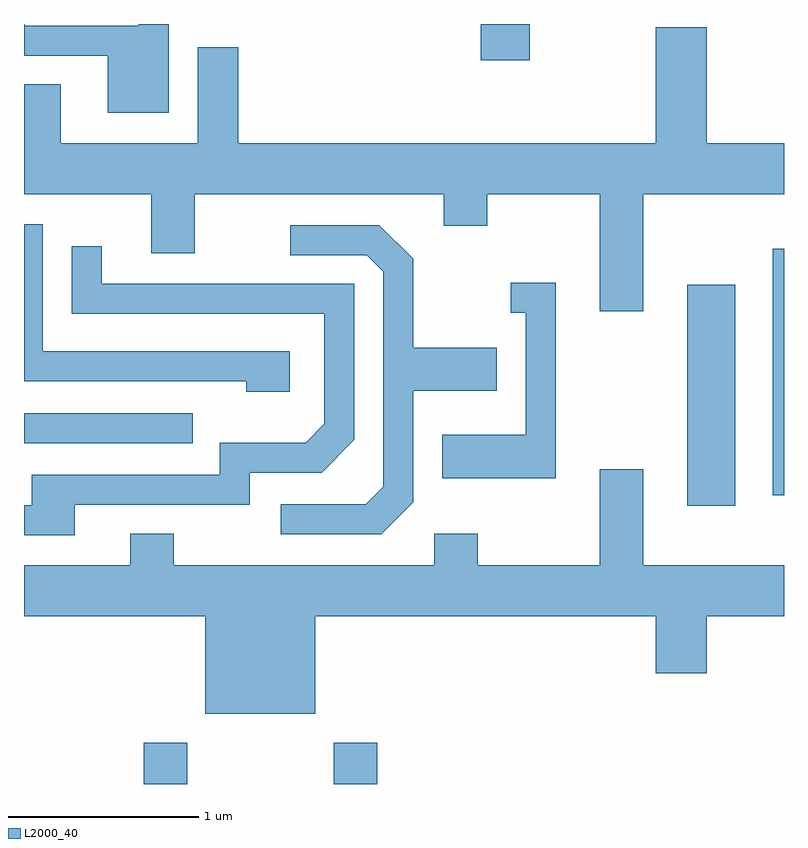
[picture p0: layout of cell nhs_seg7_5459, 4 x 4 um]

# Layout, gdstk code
import gdstk
lib = gdstk.Library(unit=1e-6, precision=1e-09)
def R(c, l, rs):  # rectangles x0, y0, x1, y1
    for r in rs: c.add(gdstk.rectangle(r[:2], r[2:], *l))
def P(c, l, *ps):  # polygons
    for p in ps: c.add(gdstk.Polygon(p, *l))
L2000_40 = (2000, 40)

nhs_seg7_5459 = lib.new_cell('nhs_seg7_5459')
R(nhs_seg7_5459, L2000_40, [(352.241,1782.252,352.469,1782.469), (353.241,1782.252,353.469,1782.469), (355.101,1783.716,355.354,1784.879), (355.551,1783.771,355.611,1785.069), (351.611,1784.046,352.498,1784.204), (354.016,1786.061,354.274,1786.252)])
P(nhs_seg7_5459, L2000_40, [(352.374,1786.252),(352.216,1786.252),(352.216,1786.244),(351.614,1786.244),(351.614,1786.252),(351.611,1786.252),(351.611,1786.086),(352.051,1786.086),(352.051,1785.786),(352.374,1785.786)],
  [(354.869,1785.356),(355.611,1785.356),(355.611,1785.624),(355.204,1785.624),(355.204,1786.234),(354.936,1786.234),(354.936,1785.624),(352.739,1785.624),(352.739,1786.129),(352.526,1786.129),(352.526,1785.624),(351.804,1785.624),(351.804,1785.934),(351.611,1785.934),(351.611,1785.356),(352.281,1785.356),(352.281,1785.046),(352.509,1785.046),(352.509,1785.356),(353.821,1785.356),(353.821,1785.191),(354.049,1785.191),(354.049,1785.356),(354.641,1785.356),(354.641,1784.741),(354.869,1784.741)],
  [(353.009,1784.529),(351.709,1784.529),(351.709,1785.199),(351.611,1785.199),(351.611,1784.371),(352.781,1784.371),(352.781,1784.316),(353.009,1784.316)],
  [(353.659,1783.734),(353.659,1784.321),(354.099,1784.321),(354.099,1784.549),(353.659,1784.549),(353.659,1785.017),(353.482,1785.194),(353.013,1785.194),(353.013,1785.036),(353.414,1785.036),(353.501,1784.949),(353.501,1783.817),(353.409,1783.724),(352.963,1783.724),(352.963,1783.566),(353.492,1783.566)],
  [(351.879,1783.721),(352.799,1783.721),(352.799,1783.891),(353.177,1783.891),(353.349,1784.064),(353.349,1784.884),(352.019,1784.884),(352.019,1785.083),(351.861,1785.083),(351.861,1784.726),(353.191,1784.726),(353.191,1784.147),(353.094,1784.049),(352.641,1784.049),(352.641,1783.879),(351.651,1783.879),(351.651,1783.719),(351.611,1783.719),(351.611,1783.561),(351.879,1783.561)],
  [(354.409,1784.889),(354.173,1784.889),(354.173,1784.731),(354.251,1784.731),(354.251,1784.089),(353.811,1784.089),(353.811,1783.861),(354.409,1783.861)],
  [(353.144,1783.136),(354.936,1783.136),(354.936,1782.836),(355.204,1782.836),(355.204,1783.136),(355.611,1783.136),(355.611,1783.404),(354.869,1783.404),(354.869,1783.909),(354.641,1783.909),(354.641,1783.404),(353.999,1783.404),(353.999,1783.569),(353.771,1783.569),(353.771,1783.404),(352.399,1783.404),(352.399,1783.569),(352.171,1783.569),(352.171,1783.404),(351.611,1783.404),(351.611,1783.136),(352.566,1783.136),(352.566,1782.621),(353.144,1782.621)])

lib.write_gds('nhs_seg7_5459.gds')
